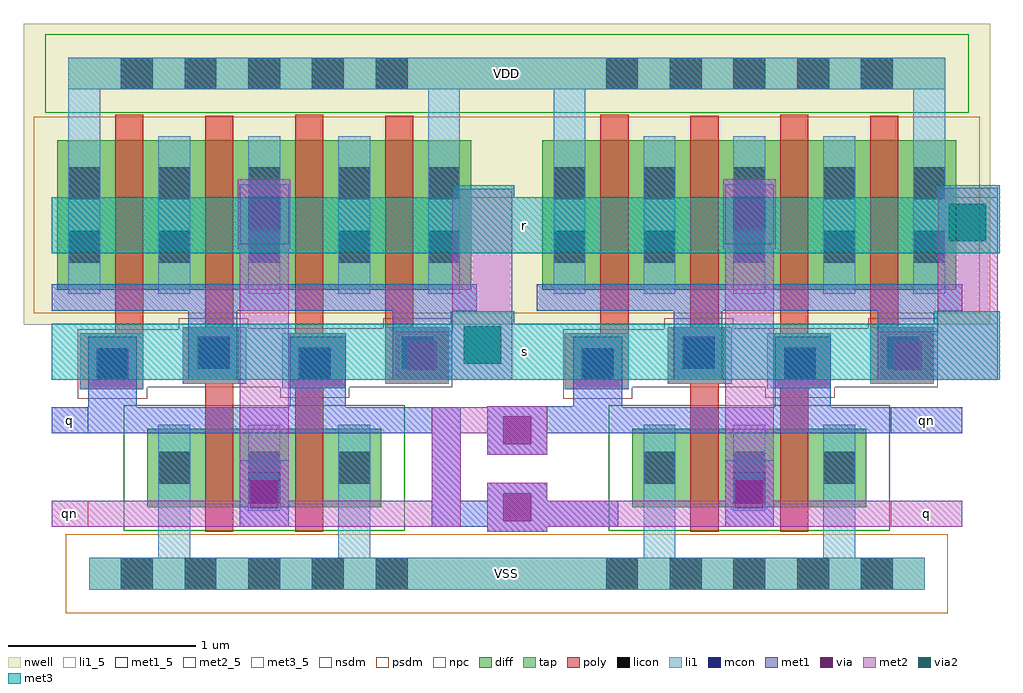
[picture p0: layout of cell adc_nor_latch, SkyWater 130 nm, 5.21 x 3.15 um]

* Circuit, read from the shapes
.subckt adc_nor_latch VDD VSS q qn r s
XM1 qn s VSS VSS sky130_fd_pr__nfet_01v8 w=0.42 l=0.15
XM2 VSS q qn VSS sky130_fd_pr__nfet_01v8 w=0.42 l=0.15
XM3 q r VSS VSS sky130_fd_pr__nfet_01v8 w=0.42 l=0.15
XM4 VSS qn q VSS sky130_fd_pr__nfet_01v8 w=0.42 l=0.15
XM5 n1 q VDD VDD sky130_fd_pr__pfet_01v8 w=0.8 l=0.15
XM6 qn s n1 VDD sky130_fd_pr__pfet_01v8 w=0.8 l=0.15
XM7 n2 q qn VDD sky130_fd_pr__pfet_01v8 w=0.8 l=0.15
XM8 VDD s n2 VDD sky130_fd_pr__pfet_01v8 w=0.8 l=0.15
XM9 n3 qn VDD VDD sky130_fd_pr__pfet_01v8 w=0.8 l=0.15
XM10 q r n3 VDD sky130_fd_pr__pfet_01v8 w=0.8 l=0.15
XM11 n4 qn q VDD sky130_fd_pr__pfet_01v8 w=0.8 l=0.15
XM12 VDD r n4 VDD sky130_fd_pr__pfet_01v8 w=0.8 l=0.15
.ends

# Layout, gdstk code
import gdstk
lib = gdstk.Library(unit=1e-6, precision=1e-09)
def R(c, l, rs):  # rectangles x0, y0, x1, y1
    for r in rs: c.add(gdstk.rectangle(r[:2], r[2:], *l))
def A(c, l, x, y, w, h, nx, ny, dx, dy):  # array of equal rectangles
    R(c, l, [(x+i*dx, y+j*dy, x+i*dx+w, y+j*dy+h) for i in range(nx) for j in range(ny)])
nwell = (64, 20)
diff = (65, 20)
tap = (65, 44)
poly = (66, 20)
licon = (66, 44)
li1_5 = (67, 5)
li1 = (67, 20)
mcon = (67, 44)
met1_5 = (68, 5)
met1 = (68, 20)
via = (68, 44)
met2_5 = (69, 5)
met2 = (69, 20)
via2 = (69, 44)
met3_5 = (70, 5)
met3 = (70, 20)
nsdm = (93, 44)
psdm = (94, 20)
npc = (95, 20)

adc_nor_latch = lib.new_cell('adc_nor_latch')
R(adc_nor_latch, nwell, [(0.8,2.465,5.96,4.07)])
R(adc_nor_latch, diff, [(1.46,1.49,2.71,1.91), (4.05,1.49,5.3,1.91), (0.98,2.65,3.19,3.45), (3.57,2.65,5.78,3.45)])
R(adc_nor_latch, tap, [(1.15,1.05,5.61,1.22), (1.04,3.72,5.72,3.89)])
R(adc_nor_latch, poly, [(1.77,1.36,1.92,2.15), (2.25,1.36,2.4,2.125), (4.36,1.36,4.51,2.15), (4.84,1.36,4.99,2.125), (1.1,2.12,1.44,2.42), (3.69,2.12,4.03,2.42), (2.22,2.125,2.52,2.42), (4.81,2.125,5.11,2.42), (1.65,2.15,1.95,2.45), (2.73,2.15,3.07,2.45), (4.24,2.15,4.54,2.45), (5.32,2.15,5.66,2.45), (1.29,2.42,1.44,3.585), (2.25,2.42,2.4,3.585), (3.88,2.42,4.03,3.585), (4.84,2.42,4.99,3.585), (1.77,2.45,1.92,3.58), (2.73,2.45,2.88,3.58), (4.36,2.45,4.51,3.58), (5.32,2.45,5.47,3.58)])
A(adc_nor_latch, licon, 1.32, 1.05, 0.17, 0.17, 5, 2, 0.34, 2.67)
A(adc_nor_latch, licon, 3.91, 1.05, 0.17, 0.17, 5, 2, 0.34, 2.67)
A(adc_nor_latch, licon, 1.52, 1.615, 0.17, 0.17, 3, 1, 0.48, 0)
A(adc_nor_latch, licon, 4.11, 1.615, 0.17, 0.17, 3, 1, 0.48, 0)
A(adc_nor_latch, licon, 1.04, 2.795, 0.17, 0.17, 5, 2, 0.48, 0.34)
A(adc_nor_latch, licon, 3.63, 2.795, 0.17, 0.17, 5, 2, 0.48, 0.34)
R(adc_nor_latch, licon, [(1.19,2.17,1.36,2.34), (3.78,2.17,3.95,2.34), (2.27,2.175,2.44,2.345), (4.86,2.175,5.03,2.345), (1.73,2.23,1.9,2.4), (2.82,2.23,2.99,2.4), (4.32,2.23,4.49,2.4), (5.41,2.23,5.58,2.4)])
R(adc_nor_latch, li1_5, [(1.15,1.05,5.61,1.22), (1.04,3.72,5.72,3.89)])
A(adc_nor_latch, li1, 1.52, 2.63, 0.17, 0.84, 3, 1, 0.48, 0)
A(adc_nor_latch, li1, 4.11, 2.63, 0.17, 0.84, 3, 1, 0.48, 0)
R(adc_nor_latch, li1, [(1.15,1.05,5.61,1.22), (1.52,1.22,1.69,1.93), (2.48,1.22,2.65,1.93), (4.11,1.22,4.28,1.93), (5.07,1.22,5.24,1.93), (2,1.47,2.17,1.93), (4.59,1.47,4.76,1.93), (1.1,2.12,1.44,2.42), (3.69,2.12,4.03,2.42), (2.18,2.125,2.52,2.42), (4.77,2.125,5.11,2.42), (1.65,2.15,1.99,2.45), (2.73,2.15,3.07,2.45), (4.24,2.15,4.58,2.45), (5.32,2.15,5.66,2.45), (1.04,2.63,1.21,3.72), (2.96,2.63,3.13,3.72), (3.63,2.63,3.8,3.72), (5.55,2.63,5.72,3.72), (1.04,3.72,5.72,3.89)])
R(adc_nor_latch, mcon, [(2,1.51,2.17,1.68), (4.59,1.51,4.76,1.68), (1.19,2.17,1.36,2.34), (2.27,2.17,2.44,2.34), (3.78,2.17,3.95,2.34), (4.86,2.17,5.03,2.34), (1.73,2.23,1.9,2.4), (2.82,2.23,2.99,2.4), (4.32,2.23,4.49,2.4), (5.41,2.23,5.58,2.4), (2,2.97,2.17,3.14), (4.59,2.97,4.76,3.14)])
R(adc_nor_latch, met1_5, [(0.95,1.885,1.145,2.025), (5.43,1.885,5.81,2.025)])
R(adc_nor_latch, met1, [(3.275,1.36,3.595,1.385), (1.955,1.385,2.215,1.74), (2.98,1.385,3.975,1.525), (4.545,1.385,4.805,1.74), (2.98,1.525,3.135,1.885), (3.275,1.525,3.595,1.62), (3.275,1.77,3.595,1.885), (0.95,1.885,3.135,2.025), (3.275,1.885,5.81,2.025), (1.145,2.025,1.405,2.4), (2.22,2.025,2.52,2.4), (3.275,2.025,3.995,2.03), (4.81,2.025,5.11,2.4), (3.735,2.03,3.995,2.4), (1.68,2.17,1.94,2.54), (2.77,2.17,3.09,2.54), (4.27,2.17,4.53,2.54), (5.36,2.17,5.68,2.54), (0.95,2.54,3.22,2.68), (3.54,2.54,5.81,2.68), (1.955,2.895,2.215,3.215), (4.545,2.895,4.805,3.215)])
R(adc_nor_latch, via, [(3.36,1.415,3.51,1.565), (2.01,1.485,2.16,1.635), (4.6,1.485,4.75,1.635), (3.36,1.825,3.51,1.975), (2.855,2.225,3.005,2.375), (5.445,2.225,5.595,2.375), (2.01,2.98,2.16,3.13), (4.6,2.98,4.75,3.13)])
R(adc_nor_latch, met2_5, [(0.95,1.385,1.145,1.525), (5.43,1.385,5.81,1.525)])
R(adc_nor_latch, met2, [(3.275,1.36,3.595,1.385), (0.95,1.385,3.135,1.525), (3.275,1.385,5.81,1.525), (1.955,1.525,2.215,2.87), (2.98,1.525,3.135,1.885), (3.275,1.525,3.595,1.62), (4.545,1.525,4.805,2.87), (3.275,1.77,3.595,1.885), (2.98,1.885,3.595,2.025), (3.275,2.025,3.595,2.03), (2.77,2.17,3.41,2.43), (5.36,2.17,6,2.43), (3.09,2.43,3.41,3.19), (5.68,2.43,6,3.195), (1.945,2.87,2.225,3.24), (4.535,2.87,4.815,3.24)])
R(adc_nor_latch, via2, [(3.15,2.255,3.35,2.455), (5.74,2.91,5.94,3.11)])
R(adc_nor_latch, met3_5, [(0.95,2.17,6,2.47), (0.95,2.845,6,3.145)])
R(adc_nor_latch, met3, [(0.95,2.17,6.01,2.47), (3.08,2.47,3.42,2.535), (5.66,2.47,6.01,2.535), (0.95,2.845,6.01,3.145), (3.09,3.145,3.42,3.21), (5.67,3.145,6.01,3.21)])
R(adc_nor_latch, nsdm, [(1.335,1.365,2.835,2.035), (3.925,1.365,5.425,2.035), (0.915,3.595,5.845,4.015)])
R(adc_nor_latch, psdm, [(1.025,0.925,5.735,1.345), (0.855,2.525,5.905,3.575)])
R(adc_nor_latch, npc, [(1.09,2.07,1.46,2.13), (3.68,2.07,4.05,2.13), (2.17,2.075,2.54,2.13), (4.76,2.075,5.13,2.13), (1.09,2.13,3.09,2.44), (3.68,2.13,5.68,2.44), (1.63,2.44,3.09,2.445), (4.22,2.44,5.68,2.445), (1.63,2.445,2,2.5), (2.72,2.445,3.09,2.5), (4.22,2.445,4.59,2.5), (5.31,2.445,5.68,2.5)])
adc_nor_latch.add(gdstk.Label('q', (5.62,1.455), layer=69, texttype=5))
adc_nor_latch.add(gdstk.Label('qn', (5.62,1.955), layer=68, texttype=5))
adc_nor_latch.add(gdstk.Label('s', (3.475,2.32), layer=70, texttype=5))
adc_nor_latch.add(gdstk.Label('r', (3.475,2.995), layer=70, texttype=5))
adc_nor_latch.add(gdstk.Label('VDD', (3.38,3.805), layer=67, texttype=5))
adc_nor_latch.add(gdstk.Label('VSS', (3.38,1.135), layer=67, texttype=5))
adc_nor_latch.add(gdstk.Label('q', (1.047,1.955), layer=68, texttype=5))
adc_nor_latch.add(gdstk.Label('qn', (1.047,1.455), layer=69, texttype=5))

lib.write_gds('adc_nor_latch.gds')
